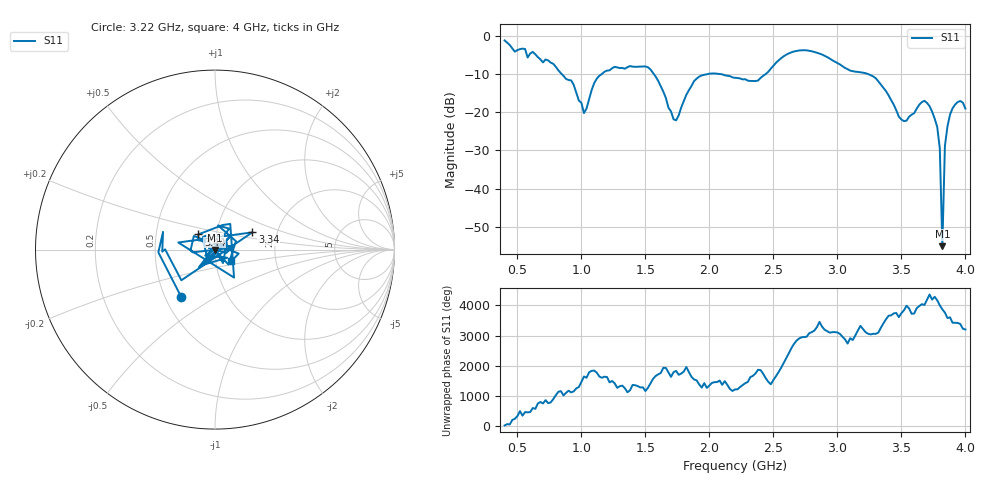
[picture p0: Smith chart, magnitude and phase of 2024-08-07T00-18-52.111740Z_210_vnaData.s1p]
!Created with skrf (http://scikit-rf.org).
# Hz S RI R 50.0
!freq ReS11 ImS11
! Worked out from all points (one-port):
!   181 points, 400 MHz to 4 GHz, reference 50 ohm
!   lowest |S11| = -55.1 dB at 3.82 GHz (marker M1), VSWR 1.00, Z = 50 - j0.176 ohm
!   |S11| at or under -10 dB: 1.566 GHz to 1.988 GHz (421.6 MHz wide, 23.7 % of centre); 2.086 GHz to 2.44 GHz (353.7 MHz wide, 15.6 % of centre); 3.239 GHz to end of sweep (the widest 3 of 4)
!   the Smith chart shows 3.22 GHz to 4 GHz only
!   S11 on the Smith chart (normalised r, x): 3.22 GHz: 0.60, -0.36; 3.34 GHz: 1.49, +0.30; 3.44 GHz: 0.82, +0.14; 4 GHz: 1.19, -0.16
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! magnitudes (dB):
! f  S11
! 400 MHz  -1.2
! 860 MHz  -10.5
! 940 MHz  -12.8
! 1.02 GHz  -20.2
! 1.12 GHz  -11.2
! 1.3 GHz  -8.4
! 1.52 GHz  -8.2
! 1.6 GHz  -11.8
! 1.72 GHz  -21.9
! 1.76 GHz  -20.8
! 1.92 GHz  -10.7
! 2.2 GHz  -11.0
! 2.38 GHz  -11.7
! 2.66 GHz  -4.1
! 3.1 GHz  -9.1
! 3.22 GHz  -9.8
! 3.34 GHz  -12.8
! 3.44 GHz  -18.0
! 3.5 GHz  -21.9
! 3.56 GHz  -21.2
! 3.68 GHz  -17.0
! 3.78 GHz  -23.9
! 3.8 GHz  -29.4
! 3.82 GHz  -55.1
! 3.84 GHz  -28.8
! 3.86 GHz  -23.7
! 3.92 GHz  -18.0
! 4 GHz  -19.0
